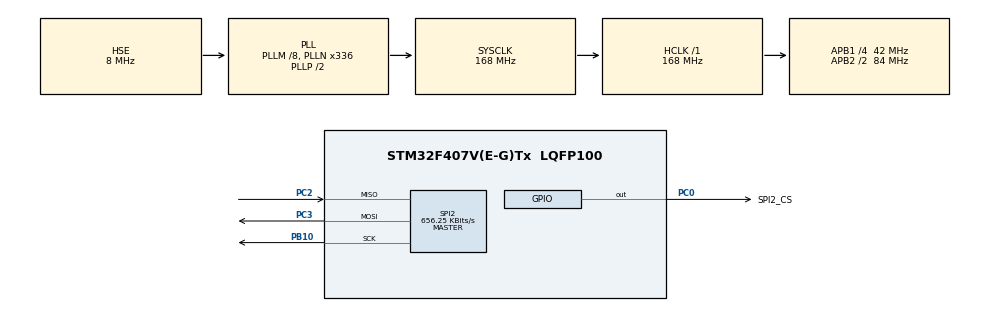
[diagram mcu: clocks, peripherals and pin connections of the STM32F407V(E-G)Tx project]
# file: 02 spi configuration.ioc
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Mcu.Family=STM32F4
Mcu.Name=STM32F407V(E-G)Tx
Mcu.Package=LQFP100
NVIC.PriorityGroup=NVIC_PRIORITYGROUP_0
PA13.Mode=Serial_Wire
PA13.Signal=SYS_JTMS-SWDIO
PA14.Mode=Serial_Wire
PA14.Signal=SYS_JTCK-SWCLK
PB10.Mode=Full_Duplex_Master
PB10.Signal=SPI2_SCK
PB3.Signal=SYS_JTDO-SWO
PC0.GPIO_Label=SPI2_CS
PC0.PinState=GPIO_PIN_SET
PC0.Signal=GPIO_Output
PC2.Mode=Full_Duplex_Master
PC2.Signal=SPI2_MISO
PC3.Mode=Full_Duplex_Master
PC3.Signal=SPI2_MOSI
PH0-OSC_IN.Mode=HSE-External-Oscillator
PH0-OSC_IN.Signal=RCC_OSC_IN
PH1-OSC_OUT.Mode=HSE-External-Oscillator
PH1-OSC_OUT.Signal=RCC_OSC_OUT
ProjectManager.HeapSize=0x200
ProjectManager.StackSize=0x400
ProjectManager.TargetToolchain=STM32CubeIDE
RCC.48MHZClocksFreq_Value=48000000
RCC.AHBFreq_Value=168000000
RCC.APB1CLKDivider=RCC_HCLK_DIV4
RCC.APB1Freq_Value=42000000
RCC.APB1TimFreq_Value=84000000
RCC.APB2CLKDivider=RCC_HCLK_DIV2
RCC.APB2Freq_Value=84000000
RCC.APB2TimFreq_Value=168000000
RCC.CortexFreq_Value=168000000
RCC.HCLKFreq_Value=168000000
RCC.HSE_VALUE=8000000
RCC.HSI_VALUE=16000000
RCC.LSE_VALUE=32768
RCC.PLLM=8
RCC.PLLN=336
RCC.PLLQ=7
RCC.PLLSourceVirtual=RCC_PLLSOURCE_HSE
RCC.SYSCLKFreq_VALUE=168000000
RCC.SYSCLKSource=RCC_SYSCLKSOURCE_PLLCLK
RCC.VCOOutputFreq_Value=336000000
SPI2.BaudRatePrescaler=SPI_BAUDRATEPRESCALER_64
SPI2.CLKPhase=SPI_PHASE_2EDGE
SPI2.CLKPolarity=SPI_POLARITY_HIGH
SPI2.CalculateBaudRate=656.25 KBits/s
SPI2.Direction=SPI_DIRECTION_2LINES
SPI2.Mode=SPI_MODE_MASTER
SPI2.VirtualType=VM_MASTER
board=STM32F407G-DISC1

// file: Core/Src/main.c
/* USER CODE BEGIN Header */
/**
  ******************************************************************************
  * @file           : main.c
  * @brief          : Main program body
  ******************************************************************************
  * @attention
  *
  * Copyright (c) 2024 STMicroelectronics.
  * All rights reserved.
  *
  * This software is licensed under terms that can be found in the LICENSE file
  * in the root directory of this software component.
  * If no LICENSE file comes with this software, it is provided AS-IS.
  *
  ******************************************************************************
  */
/* USER CODE END Header */
#include "main.h"
#include "spi.h"
#include "gpio.h"

/* USER CODE BEGIN Includes */
#include "stdio.h"
#include "MPU9250.h"
/* USER CODE END Includes */

void SystemClock_Config(void);

/* USER CODE BEGIN 0 */
MPU9250_t mpu;
/* USER CODE END 0 */

int main(void)
{
  /* USER CODE BEGIN 1 */
	mpu.settings.gFullScaleRange = GFSR_500DPS;
	mpu.settings.aFullScaleRange = AFSR_4G;
  /* USER CODE END 1 */

  /* MCU Configuration--------------------------------------------------------*/

  /* Reset of all peripherals, Initializes the Flash interface and the Systick. */
  HAL_Init();

  /* Configure the system clock */
  SystemClock_Config();

  /* Initialize all configured peripherals */
  MX_GPIO_Init();
  MX_SPI2_Init();
  /* USER CODE BEGIN 2 */
  HAL_Delay(100);
  HAL_GPIO_WritePin(SPI2_CS_GPIO_Port, SPI2_CS_Pin, GPIO_PIN_RESET);
  uint8_t address = 0x80 | 0x75;
  uint8_t data;
    HAL_SPI_Transmit(&hspi2, &address, sizeof(address), 100);
    HAL_SPI_Receive(&hspi2, &data, 1, 100);

    HAL_GPIO_WritePin(SPI2_CS_GPIO_Port, SPI2_CS_Pin, GPIO_PIN_SET);
    printf("data 0x%x \n", data);
  /* USER CODE END 2 */

  /* Infinite loop */
  while (1)
  {

  }
}

void SystemClock_Config(void)
{
  RCC_OscInitTypeDef RCC_OscInitStruct = {0};
  RCC_ClkInitTypeDef RCC_ClkInitStruct = {0};

  /** Configure the main internal regulator output voltage
  */
  __HAL_RCC_PWR_CLK_ENABLE();
  __HAL_PWR_VOLTAGESCALING_CONFIG(PWR_REGULATOR_VOLTAGE_SCALE1);

  /** Initializes the RCC Oscillators according to the specified parameters
  * in the RCC_OscInitTypeDef structure.
  */
  RCC_OscInitStruct.OscillatorType = RCC_OSCILLATORTYPE_HSE;
  RCC_OscInitStruct.HSEState = RCC_HSE_ON;
  RCC_OscInitStruct.PLL.PLLState = RCC_PLL_ON;
  RCC_OscInitStruct.PLL.PLLSource = RCC_PLLSOURCE_HSE;
  RCC_OscInitStruct.PLL.PLLM = 8;
  RCC_OscInitStruct.PLL.PLLN = 336;
  RCC_OscInitStruct.PLL.PLLP = RCC_PLLP_DIV2;
  RCC_OscInitStruct.PLL.PLLQ = 7;
  if (HAL_RCC_OscConfig(&RCC_OscInitStruct) != HAL_OK)
  {
    Error_Handler();
  }

  /** Initializes the CPU, AHB and APB buses clocks
  */
  RCC_ClkInitStruct.ClockType = RCC_CLOCKTYPE_HCLK|RCC_CLOCKTYPE_SYSCLK
                              |RCC_CLOCKTYPE_PCLK1|RCC_CLOCKTYPE_PCLK2;
  RCC_ClkInitStruct.SYSCLKSource = RCC_SYSCLKSOURCE_PLLCLK;
  RCC_ClkInitStruct.AHBCLKDivider = RCC_SYSCLK_DIV1;
  RCC_ClkInitStruct.APB1CLKDivider = RCC_HCLK_DIV4;
  RCC_ClkInitStruct.APB2CLKDivider = RCC_HCLK_DIV2;

  if (HAL_RCC_ClockConfig(&RCC_ClkInitStruct, FLASH_LATENCY_5) != HAL_OK)
  {
    Error_Handler();
  }
}

/* USER CODE BEGIN 4 */
int _write(int file, char *ptr, int len)
{
	int DataIdx;
	for(DataIdx = 0; DataIdx < len; DataIdx++)
		ITM_SendChar(*ptr++);
	return len;
}
/* USER CODE END 4 */

void Error_Handler(void)
{
  __disable_irq();
  while (1)
  {
  }
}
